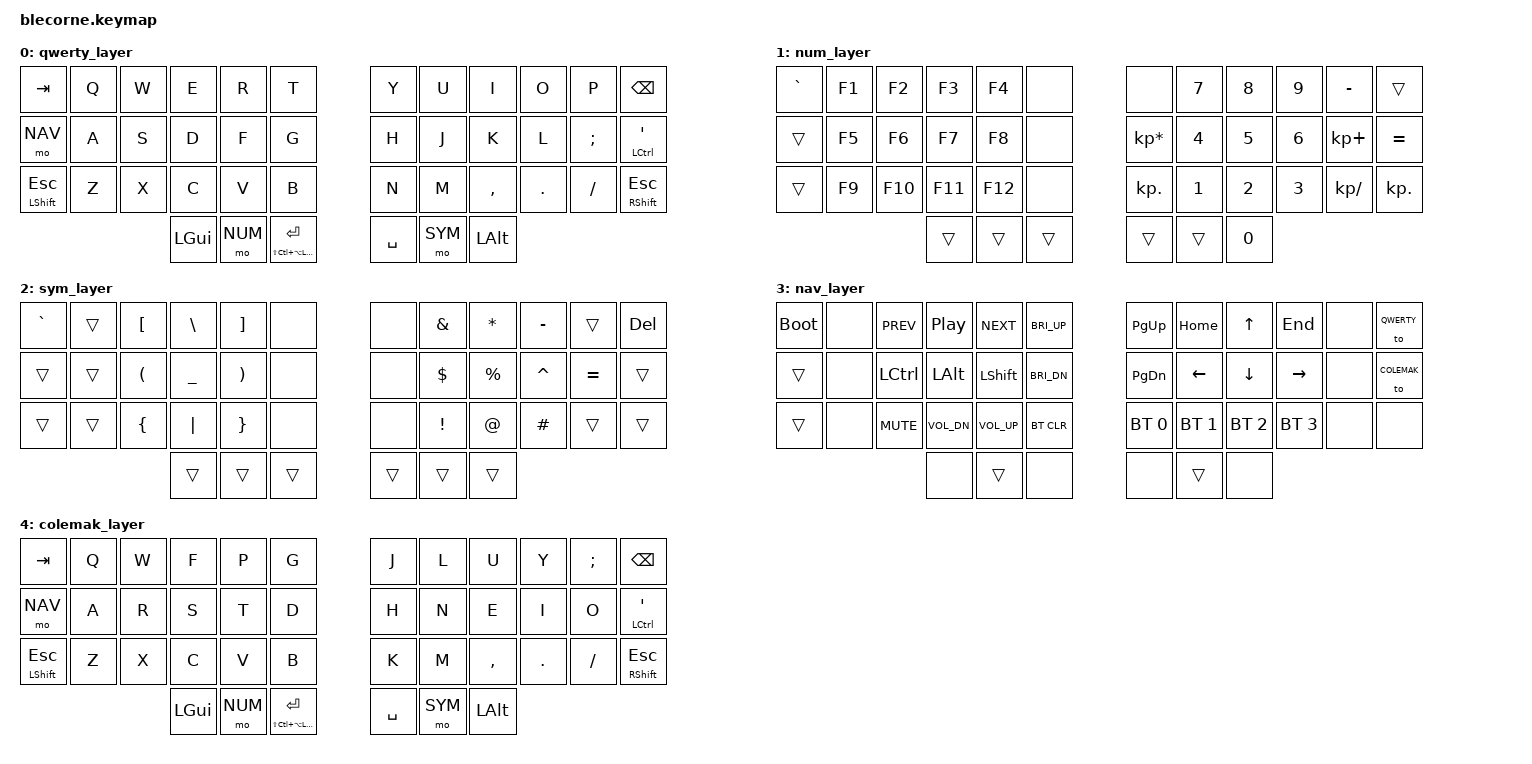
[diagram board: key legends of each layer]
/*
 * Copyright (c) 2020 The ZMK Contributors
 *
 * SPDX-License-Identifier: MIT
 */

#include <behaviors.dtsi>
#include <dt-bindings/zmk/keys.h>
#include <dt-bindings/zmk/bt.h>

#define QWERTY  0
#define NUM     1
#define SYM     2
#define NAV     3
#define COLEMAK 4

/ {
    behaviors {
        tap_ctl: tap_preferred_mod_tap {
            compatible = "zmk,behavior-hold-tap";
            #binding-cells = <2>;
            flavor = "tap-preferred";
            tapping-term-ms = <200>;
            bindings = <&kp>, <&kp>;
        };
    };

    keymap {
        compatible = "zmk,keymap";

        qwerty_layer {
// ┌───────┬───────┬───────┬───────┬───────┬───────┐                    ┌───────┬───────┬───────┬───────┬───────┬───────┐
// │  TAB  │   Q   │   W   │   E   │   R   │   T   │                    │   Y   │   U   │   I   │   O   │   P   │ BSPC  │
// ├───────┼───────┼───────┼───────┼───────┼───────┤                    ├───────┼───────┼───────┼───────┼───────┼───────┤
// │TT(NAV)│   A   │   S   │   D   │   F   │   G   │                    │   H   │   J   │   K   │   L   │   ;   │CTL/'  │
// ├───────┼───────┼───────┼───────┼───────┼───────┤                    ├───────┼───────┼───────┼───────┼───────┼───────┤
// │ESC/LS │   Z   │   X   │   C   │   V   │   B   │                    │   N   │   M   │   ,   │   .   │   /   │ESC/RS │
// └───────┴───────┴───────┴───────┴───────┴───────┘                    └───────┴───────┴───────┴───────┴───────┴───────┘
//                         ┌───────┬───────┬───────┐                    ┌───────┬───────┬───────┐
//                         │   ⌘   │TT(NUM)│HYP/ENT│                    │  SPC  │TT(SYM)│  ALT  │
//                         └───────┴───────┴───────┘                    └───────┴───────┴───────┘
            bindings = <
   &kp TAB        &kp Q &kp W &kp E &kp R &kp T   &kp Y &kp U     &kp I     &kp O   &kp P    &kp BSPC
   &mo NAV    &kp A &kp S &kp D &kp F &kp G   &kp H &kp J     &kp K     &kp L   &kp SEMI &tap_ctl LCTRL SQT
   &mt LSHFT ESC  &kp Z &kp X &kp C &kp V &kp B   &kp N &kp M     &kp COMMA &kp DOT &kp FSLH &mt RSHFT ESC
   &kp LGUI  &mo NUM  &mt LS(LC(LA(LGUI))) RET   &kp SPACE &mo SYM &kp LALT
            >;
        };

        num_layer {
// ┌───────┬───────┬───────┬───────┬───────┬───────┐                    ┌───────┬───────┬───────┬───────┬───────┬───────┐
// │   `   │  F1   │  F2   │  F3   │  F4   │  ---  │                    │  ---  │   7   │   8   │   9   │   -   │ TRNS  │
// ├───────┼───────┼───────┼───────┼───────┼───────┤                    ├───────┼───────┼───────┼───────┼───────┼───────┤
// │ TRNS  │  F5   │  F6   │  F7   │  F8   │  ---  │                    │    *  │   4   │   5   │   6   │   +   │   =   │
// ├───────┼───────┼───────┼───────┼───────┼───────┤                    ├───────┼───────┼───────┼───────┼───────┼───────┤
// │ TRNS  │  F9   │  F10  │  F11  │  F12  │  ---  │                    │    .  │   1   │   2   │   3   │   /   │   .   │
// └───────┴───────┴───────┴───────┴───────┴───────┘                    └───────┴───────┴───────┴───────┴───────┴───────┘
//                         ┌───────┬───────┬───────┐                    ┌───────┬───────┬───────┐
//                         │ TRNS  │ TRNS  │ TRNS  │                    │ TRNS  │ TRNS  │   0   │
//                         └───────┴───────┴───────┘                    └───────┴───────┴───────┘
            bindings = <
   &kp GRAVE &kp F1  &kp F2  &kp F3  &kp F4  &none   &none           &kp N7 &kp N8 &kp N9 &kp MINUS    &trans
   &trans    &kp F5  &kp F6  &kp F7  &kp F8  &none   &kp KP_MULTIPLY &kp N4 &kp N5 &kp N6 &kp KP_PLUS  &kp EQUAL
   &trans    &kp F9  &kp F10 &kp F11 &kp F12 &none   &kp KP_DOT      &kp N1 &kp N2 &kp N3 &kp KP_SLASH &kp KP_DOT
                              &trans  &trans  &trans   &trans &trans &kp N0
            >;
        };

        sym_layer {
// ┌───────┬───────┬───────┬───────┬───────┬───────┐                    ┌───────┬───────┬───────┬───────┬───────┬───────┐
// │   `   │ TRNS  │   [   │   \   │   ]   │  ---  │                    │  ---  │   &   │   *   │   -   │ TRNS  │  DEL  │
// ├───────┼───────┼───────┼───────┼───────┼───────┤                    ├───────┼───────┼───────┼───────┼───────┼───────┤
// │ TRNS  │ TRNS  │   (   │   _   │   )   │  ---  │                    │  ---  │   $   │   %   │   ^   │   =   │ TRNS  │
// ├───────┼───────┼───────┼───────┼───────┼───────┤                    ├───────┼───────┼───────┼───────┼───────┼───────┤
// │ TRNS  │ TRNS  │   {   │   |   │   }   │  ---  │                    │  ---  │   !   │   @   │   #   │ TRNS  │ TRNS  │
// └───────┴───────┴───────┴───────┴───────┴───────┘                    └───────┴───────┴───────┴───────┴───────┴───────┘
//                         ┌───────┬───────┬───────┐                    ┌───────┬───────┬───────┐
//                         │ TRNS  │ TRNS  │ TRNS  │                    │ TRNS  │ TRNS  │ TRNS  │
//                         └───────┴───────┴───────┘                    └───────┴───────┴───────┘
            bindings = <
   &kp GRAVE &trans  &kp LBKT  &kp BSLH  &kp RBKT  &none   &none &kp AMPS  &kp ASTRK &kp MINUS &trans    &kp DEL
   &trans    &trans  &kp LPAR  &kp UNDER &kp RPAR  &none   &none &kp DLLR  &kp PRCNT &kp CARET &kp EQUAL &trans
   &trans    &trans  &kp LBRC  &kp PIPE  &kp RBRC  &none   &none &kp EXCL  &kp AT    &kp HASH  &trans    &trans
                                &trans   &trans    &trans   &trans &trans   &trans
            >;
        };

        nav_layer {
// ┌───────┬───────┬───────┬───────┬───────┬───────┐                    ┌───────┬───────┬───────┬───────┬───────┬───────┐
// │ BOOT  │  ---  │ PREV  │ PLAY  │ NEXT  │ BRI+  │                    │ PGUP  │ HOME  │  UP   │  END  │  ---  │QWERTY │
// ├───────┼───────┼───────┼───────┼───────┼───────┤                    ├───────┼───────┼───────┼───────┼───────┼───────┤
// │ TRNS  │  ---  │ LCTL  │ LALT  │ LSFT  │ BRI-  │                    │ PGDN  │ LEFT  │ DOWN  │ RGHT  │  ---  │ CLMK  │
// ├───────┼───────┼───────┼───────┼───────┼───────┤                    ├───────┼───────┼───────┼───────┼───────┼───────┤
// │ TRNS  │  ---  │ MUTE  │ VOL-  │ VOL+  │ BTCLR │                    │ BT0   │ BT1   │ BT2   │ BT3   │  ---  │  ---  │
// └───────┴───────┴───────┴───────┴───────┴───────┘                    └───────┴───────┴───────┴───────┴───────┴───────┘
//                         ┌───────┬───────┬───────┐                    ┌───────┬───────┬───────┐
//                         │  ---  │ TRNS  │  ---  │                    │  ---  │ TRNS  │  ---  │
//                         └───────┴───────┴───────┘                    └───────┴───────┴───────┘
            bindings = <
   &bootloader &none  &kp C_PREV   &kp C_PP     &kp C_NEXT   &kp C_BRI_UP   &kp PG_UP  &kp HOME     &kp UP       &kp END      &none &to QWERTY
   &trans      &none  &kp LCTRL    &kp LALT     &kp LSHFT    &kp C_BRI_DN   &kp PG_DN  &kp LEFT     &kp DOWN     &kp RIGHT    &none &to COLEMAK
   &trans      &none  &kp C_MUTE   &kp C_VOL_DN &kp C_VOL_UP &bt BT_CLR     &bt BT_SEL 0 &bt BT_SEL 1 &bt BT_SEL 2 &bt BT_SEL 3 &none &none
                       &none       &trans       &none                        &none      &trans       &none
            >;
        };

        colemak_layer {
// ┌───────┬───────┬───────┬───────┬───────┬───────┐                    ┌───────┬───────┬───────┬───────┬───────┬───────┐
// │  TAB  │   Q   │   W   │   F   │   P   │   G   │                    │   J   │   L   │   U   │   Y   │   ;   │ BSPC  │
// ├───────┼───────┼───────┼───────┼───────┼───────┤                    ├───────┼───────┼───────┼───────┼───────┼───────┤
// │TT(NAV)│   A   │   R   │   S   │   T   │   D   │                    │   H   │   N   │   E   │   I   │   O   │CTL/'  │
// ├───────┼───────┼───────┼───────┼───────┼───────┤                    ├───────┼───────┼───────┼───────┼───────┼───────┤
// │ESC/LS │   Z   │   X   │   C   │   V   │   B   │                    │   K   │   M   │   ,   │   .   │   /   │ESC/RS │
// └───────┴───────┴───────┴───────┴───────┴───────┘                    └───────┴───────┴───────┴───────┴───────┴───────┘
//                         ┌───────┬───────┬───────┐                    ┌───────┬───────┬───────┐
//                         │   ⌘   │TT(NUM)│HYP/ENT│                    │  SPC  │TT(SYM)│  ALT  │
//                         └───────┴───────┴───────┘                    └───────┴───────┴───────┘
            bindings = <
   &kp TAB        &kp Q &kp W &kp F &kp P &kp G   &kp J &kp L     &kp U     &kp Y   &kp SEMI &kp BSPC
   &mo NAV    &kp A &kp R &kp S &kp T &kp D   &kp H &kp N     &kp E     &kp I   &kp O    &tap_ctl LCTRL SQT
   &mt LSHFT ESC  &kp Z &kp X &kp C &kp V &kp B   &kp K &kp M     &kp COMMA &kp DOT &kp FSLH &mt RSHFT ESC
   &kp LGUI  &mo NUM  &mt LS(LC(LA(LGUI))) RET   &kp SPACE &mo SYM &kp LALT
            >;
        };
    };
};
